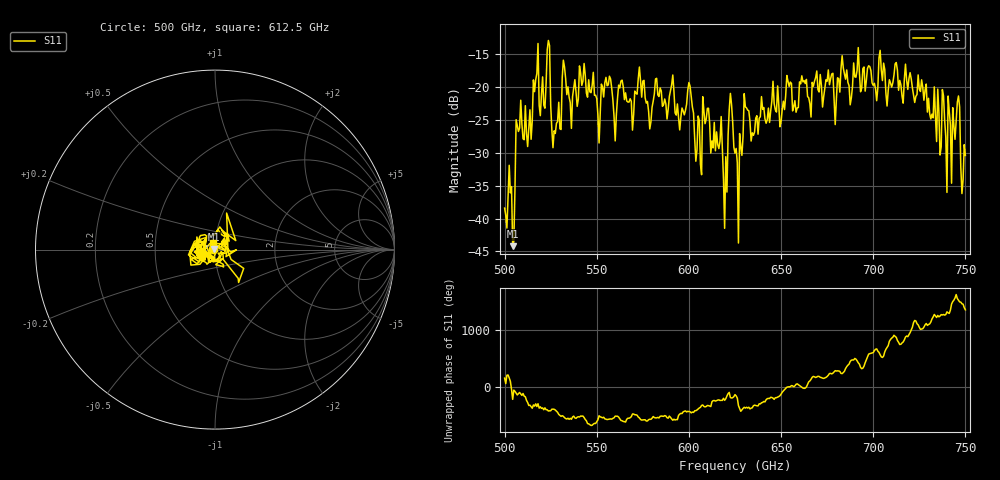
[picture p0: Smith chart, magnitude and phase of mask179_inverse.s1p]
!Created with skrf (http://scikit-rf.org).
# GHz S MA R 50.0
!freq magS11 angS11
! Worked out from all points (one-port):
!   401 points, 500 GHz to 750 GHz, reference 50 ohm
!   lowest |S11| = -44.2 dB at 504.4 GHz (marker M1), VSWR 1.01, Z = 49.5 + j0.32 ohm
!   |S11| at or under -10 dB: start of sweep to end of sweep
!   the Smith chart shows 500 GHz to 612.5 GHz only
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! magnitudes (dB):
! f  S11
! 500 GHz  -38.4
! 504.4 GHz  -44.2
! 507.5 GHz  -26.8
! 513.8 GHz  -23.5
! 516.9 GHz  -18.9
! 520.6 GHz  -18.5
! 523.8 GHz  -12.9
! 526.9 GHz  -26.7
! 531.2 GHz  -18.6
! 556.2 GHz  -19.7
! 560 GHz  -28.2
! 562.5 GHz  -20.2
! 593.8 GHz  -22.6
! 600.6 GHz  -19.9
! 605.6 GHz  -25.1
! 608.8 GHz  -25.6
! 619.4 GHz  -41.5
! 622.5 GHz  -21.0
! 625 GHz  -30.1
! 627.5 GHz  -27.1
! 631.2 GHz  -23.2
! 634.4 GHz  -27.0
! 656.2 GHz  -23.6
! 687.5 GHz  -22.7
! 718.8 GHz  -20.4
! 741.2 GHz  -23.7
! 745.6 GHz  -22.3
! 750 GHz  -30.4
